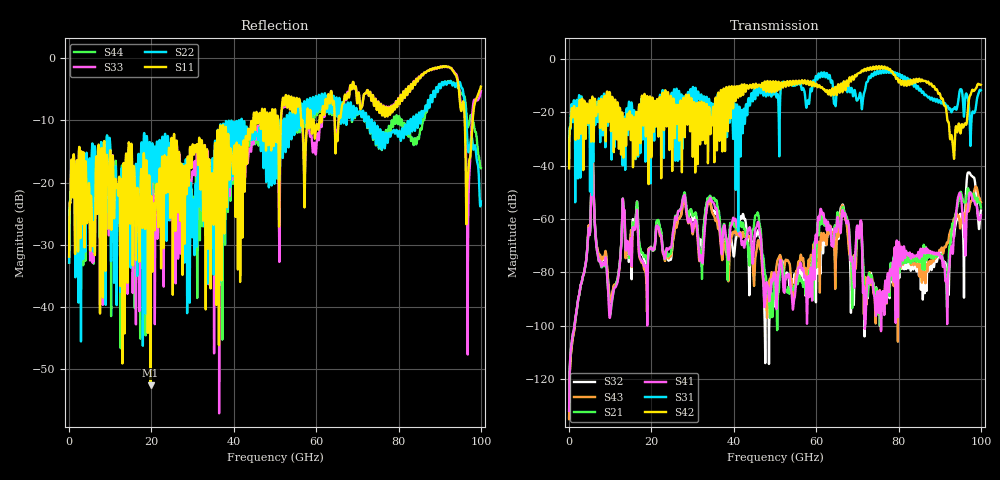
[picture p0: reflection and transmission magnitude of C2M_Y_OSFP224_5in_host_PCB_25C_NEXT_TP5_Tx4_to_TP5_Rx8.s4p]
# GHz S RI R 45
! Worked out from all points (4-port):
!   4000 points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, 25 MHz to 100 GHz, reference 45 ohm
!   strongest paths, dB at 25 MHz, 25.02 GHz, 50.02 GHz, 75.03 GHz, 100 GHz:
!     S42: -41.0, -29.9, -10.0, -3.3, -9.7
!     S31: -39.3, -13.4, -11.4, -5.3, -11.7
!     S41: -131.8, -67.9, -81.4, -89.5, -58.6
!     S21: -131.7, -68.6, -82.6, -93.7, -55.7
!     S43: -134.9, -71.0, -82.0, -91.1, -53.8
!     S32: -134.4, -71.3, -92.8, -91.5, -56.8
!   lowest |S11| = -52.6 dB at 19.8 GHz (marker M1), VSWR 1.00, Z = 45.2 - j0.127 ohm
!   |S11| at or under -10 dB: start of sweep to 44.74 GHz; 59.38 GHz to 60.78 GHz (1.401 GHz wide, 2.33 % of centre); 96.08 GHz to 98 GHz (1.929 GHz wide, 1.99 % of centre) (the widest 3 of 19)
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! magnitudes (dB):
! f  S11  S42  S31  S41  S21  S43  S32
! 25 MHz  -31.9  -41.0  -39.3  -131.8  -131.7  -134.9  -134.4
! 5.7 GHz  -29.5  -14.2  -30.4  -40.1  -40.1  -40.1  -40.1
! 7.675 GHz  -17.8  -17.8  -20.3  -76.6  -76.8  -74.4  -74.6
! 19.8 GHz  -52.6  -15.8  -37.5  -70.9  -70.7  -70.9  -70.5
! 86.12 GHz  -2.5  -8.3  -12.8  -72.4  -69.6  -82.8  -74.0
! 93.2 GHz  -2.0  -32.7  -18.8  -72.8  -61.7  -61.9  -63.5
! 100 GHz  -4.6  -9.7  -11.7  -58.6  -55.7  -53.8  -56.8
